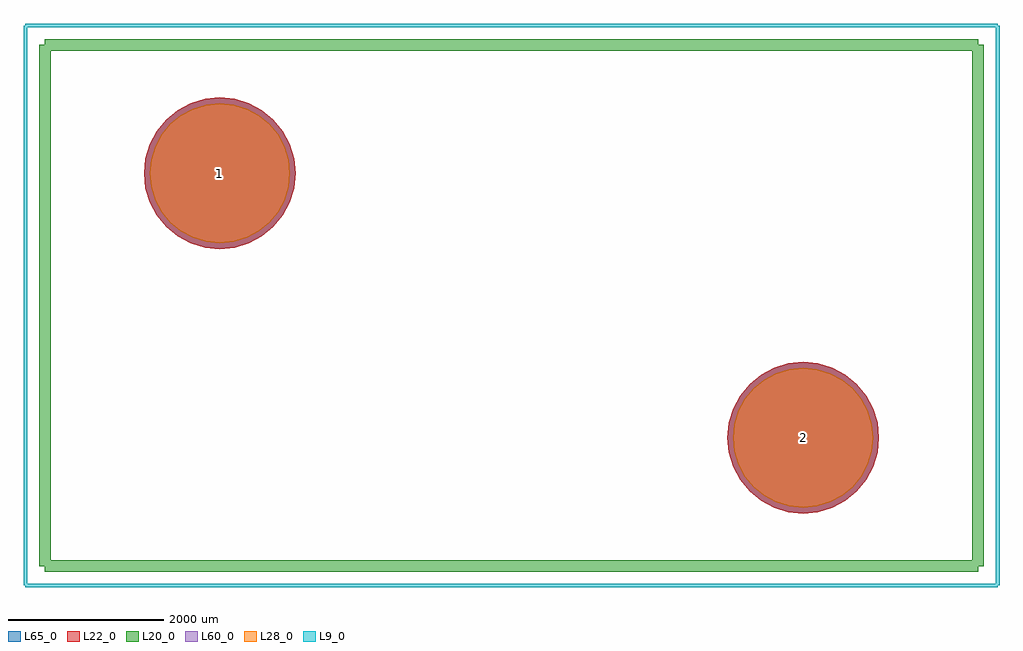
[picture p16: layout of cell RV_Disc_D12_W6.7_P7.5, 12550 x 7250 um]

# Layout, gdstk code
import gdstk
lib = gdstk.Library(unit=1e-6, precision=1e-09)
def P(c, l, *ps):  # polygons
    for p in ps: c.add(gdstk.Polygon(p, *l))
L9_0 = (9, 0)
L20_0 = (20, 0)
L22_0 = (22, 0)
L28_0 = (28, 0)
L60_0 = (60, 0)
L65_0 = (65, 0)

rv_disc_d12_w6_7_p7_5 = lib.new_cell('RV_Disc_D12_W6.7_P7.5')
P(rv_disc_d12_w6_7_p7_5, L22_0, [(8475,-3400),(8456.266,-3209.787),(8400.783,-3026.884),(8310.683,-2858.319),(8189.429,-2710.571),(8041.681,-2589.317),(7873.116,-2499.217),(7690.213,-2443.734),(7500,-2425),(7309.787,-2443.734),(7126.884,-2499.217),(6958.319,-2589.317),(6810.571,-2710.571),(6689.317,-2858.319),(6599.217,-3026.884),(6543.734,-3209.787),(6525,-3400),(6543.734,-3590.213),(6599.217,-3773.116),(6689.317,-3941.681),(6810.571,-4089.429),(6958.319,-4210.683),(7126.884,-4300.783),(7309.787,-4356.266),(7500,-4375),(7690.213,-4356.266),(7873.116,-4300.783),(8041.681,-4210.683),(8189.429,-4089.429),(8310.683,-3941.681),(8400.783,-3773.116),(8456.266,-3590.213)],
  [(975,0),(956.266,190.213),(900.783,373.116),(810.683,541.681),(689.429,689.429),(541.681,810.683),(373.116,900.783),(190.213,956.266),(0,975),(-190.213,956.266),(-373.116,900.783),(-541.681,810.683),(-689.429,689.429),(-810.683,541.681),(-900.783,373.116),(-956.266,190.213),(-975,0),(-956.266,-190.213),(-900.783,-373.116),(-810.683,-541.681),(-689.429,-689.429),(-541.681,-810.683),(-373.116,-900.783),(-190.213,-956.266),(0,-975),(190.213,-956.266),(373.116,-900.783),(541.681,-810.683),(689.429,-689.429),(810.683,-541.681),(900.783,-373.116),(956.266,-190.213)])
P(rv_disc_d12_w6_7_p7_5, L28_0, [(8400,-3400),(8382.707,-3224.419),(8331.492,-3055.585),(8248.323,-2899.987),(8136.396,-2763.604),(8000.013,-2651.677),(7844.415,-2568.508),(7675.581,-2517.293),(7500,-2500),(7324.419,-2517.293),(7155.585,-2568.508),(6999.987,-2651.677),(6863.604,-2763.604),(6751.677,-2899.987),(6668.508,-3055.585),(6617.293,-3224.419),(6600,-3400),(6617.293,-3575.581),(6668.508,-3744.415),(6751.677,-3900.013),(6863.604,-4036.396),(6999.987,-4148.323),(7155.585,-4231.492),(7324.419,-4282.707),(7500,-4300),(7675.581,-4282.707),(7844.415,-4231.492),(8000.013,-4148.323),(8136.396,-4036.396),(8248.323,-3900.013),(8331.492,-3744.415),(8382.707,-3575.581)],
  [(900,0),(882.707,175.581),(831.492,344.415),(748.323,500.013),(636.396,636.396),(500.013,748.323),(344.415,831.492),(175.581,882.707),(0,900),(-175.581,882.707),(-344.415,831.492),(-500.013,748.323),(-636.396,636.396),(-748.323,500.013),(-831.492,344.415),(-882.707,175.581),(-900,0),(-882.707,-175.581),(-831.492,-344.415),(-748.323,-500.013),(-636.396,-636.396),(-500.013,-748.323),(-344.415,-831.492),(-175.581,-882.707),(0,-900),(175.581,-882.707),(344.415,-831.492),(500.013,-748.323),(636.396,-636.396),(748.323,-500.013),(831.492,-344.415),(882.707,-175.581)])
P(rv_disc_d12_w6_7_p7_5, L60_0, [(8400,-3400),(8382.707,-3224.419),(8331.492,-3055.585),(8248.323,-2899.987),(8136.396,-2763.604),(8000.013,-2651.677),(7844.415,-2568.508),(7675.581,-2517.293),(7500,-2500),(7324.419,-2517.293),(7155.585,-2568.508),(6999.987,-2651.677),(6863.604,-2763.604),(6751.677,-2899.987),(6668.508,-3055.585),(6617.293,-3224.419),(6600,-3400),(6617.293,-3575.581),(6668.508,-3744.415),(6751.677,-3900.013),(6863.604,-4036.396),(6999.987,-4148.323),(7155.585,-4231.492),(7324.419,-4282.707),(7500,-4300),(7675.581,-4282.707),(7844.415,-4231.492),(8000.013,-4148.323),(8136.396,-4036.396),(8248.323,-3900.013),(8331.492,-3744.415),(8382.707,-3575.581)],
  [(900,0),(882.707,175.581),(831.492,344.415),(748.323,500.013),(636.396,636.396),(500.013,748.323),(344.415,831.492),(175.581,882.707),(0,900),(-175.581,882.707),(-344.415,831.492),(-500.013,748.323),(-636.396,636.396),(-748.323,500.013),(-831.492,344.415),(-882.707,175.581),(-900,0),(-882.707,-175.581),(-831.492,-344.415),(-748.323,-500.013),(-636.396,-636.396),(-500.013,-748.323),(-344.415,-831.492),(-175.581,-882.707),(0,-900),(175.581,-882.707),(344.415,-831.492),(500.013,-748.323),(636.396,-636.396),(748.323,-500.013),(831.492,-344.415),(882.707,-175.581)])
P(rv_disc_d12_w6_7_p7_5, L65_0, [(8475,-3400),(8456.266,-3209.787),(8400.783,-3026.884),(8310.683,-2858.319),(8189.429,-2710.571),(8041.681,-2589.317),(7873.116,-2499.217),(7690.213,-2443.734),(7500,-2425),(7309.787,-2443.734),(7126.884,-2499.217),(6958.319,-2589.317),(6810.571,-2710.571),(6689.317,-2858.319),(6599.217,-3026.884),(6543.734,-3209.787),(6525,-3400),(6543.734,-3590.213),(6599.217,-3773.116),(6689.317,-3941.681),(6810.571,-4089.429),(6958.319,-4210.683),(7126.884,-4300.783),(7309.787,-4356.266),(7500,-4375),(7690.213,-4356.266),(7873.116,-4300.783),(8041.681,-4210.683),(8189.429,-4089.429),(8310.683,-3941.681),(8400.783,-3773.116),(8456.266,-3590.213)],
  [(975,0),(956.266,190.213),(900.783,373.116),(810.683,541.681),(689.429,689.429),(541.681,810.683),(373.116,900.783),(190.213,956.266),(0,975),(-190.213,956.266),(-373.116,900.783),(-541.681,810.683),(-689.429,689.429),(-810.683,541.681),(-900.783,373.116),(-956.266,190.213),(-975,0),(-956.266,-190.213),(-900.783,-373.116),(-810.683,-541.681),(-689.429,-689.429),(-541.681,-810.683),(-373.116,-900.783),(-190.213,-956.266),(0,-975),(190.213,-956.266),(373.116,-900.783),(541.681,-810.683),(689.429,-689.429),(810.683,-541.681),(900.783,-373.116),(956.266,-190.213)])
rv_disc_d12_w6_7_p7_5.add(gdstk.FlexPath([(-2250,1650),(-2250,-5050)], 149.998, ends="flush", simple_path=True, layer=20, datatype=0))  # L20_0
rv_disc_d12_w6_7_p7_5.add(gdstk.FlexPath([(9750,1650),(9750,-5050)], 149.998, ends="flush", simple_path=True, layer=20, datatype=0))  # L20_0
rv_disc_d12_w6_7_p7_5.add(gdstk.FlexPath([(-2250,1650),(9750,1650)], 149.998, ends="flush", simple_path=True, layer=20, datatype=0))  # L20_0
rv_disc_d12_w6_7_p7_5.add(gdstk.FlexPath([(-2250,-5050),(9750,-5050)], 149.998, ends="flush", simple_path=True, layer=20, datatype=0))  # L20_0
rv_disc_d12_w6_7_p7_5.add(gdstk.FlexPath([(-2500,1900),(-2500,-5300)], 50, ends="flush", simple_path=True, layer=9, datatype=0))  # L9_0
rv_disc_d12_w6_7_p7_5.add(gdstk.FlexPath([(10000,1900),(10000,-5300)], 50, ends="flush", simple_path=True, layer=9, datatype=0))  # L9_0
rv_disc_d12_w6_7_p7_5.add(gdstk.FlexPath([(-2500,1900),(10000,1900)], 50, ends="flush", simple_path=True, layer=9, datatype=0))  # L9_0
rv_disc_d12_w6_7_p7_5.add(gdstk.FlexPath([(-2500,-5300),(10000,-5300)], 50, ends="flush", simple_path=True, layer=9, datatype=0))  # L9_0
rv_disc_d12_w6_7_p7_5.add(gdstk.Label('2', (7500,-3400), layer=28, texttype=0))
rv_disc_d12_w6_7_p7_5.add(gdstk.Label('1', (0,0), layer=28, texttype=0))
rv_disc_d12_w6_7_p7_5.add(gdstk.Label('type', (3750,2650), layer=9, texttype=0))
rv_disc_d12_w6_7_p7_5.add(gdstk.Label('devicename', (3750,-6050), layer=9, texttype=0))

lib.write_gds('RV_Disc_D12_W6.7_P7.5.gds')
